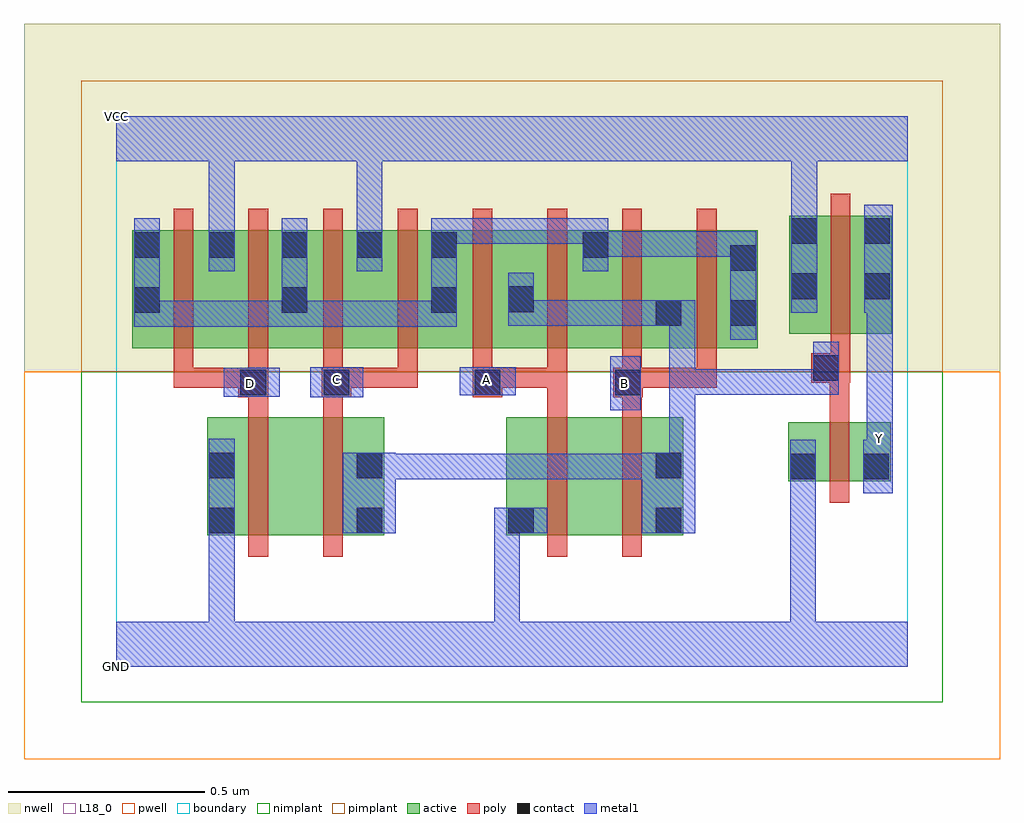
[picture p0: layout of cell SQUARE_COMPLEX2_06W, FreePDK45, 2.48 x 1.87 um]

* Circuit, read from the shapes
.subckt SQUARE_COMPLEX2_06W A B C D GND VCC Y
M1 n1 D GND VSUBS nfet w=0.3u l=0.05u
M2 n2 C n1 VSUBS nfet w=0.3u l=0.05u
M3 n3 A GND VSUBS nfet w=0.3u l=0.05u
M4 n2 B n3 VSUBS nfet w=0.3u l=0.05u
M5 Y n2 GND VSUBS nfet w=0.15u l=0.05u
M6 VCC D n4 n5 pfet w=0.3u l=0.05u m=2
M7 VCC C n4 n5 pfet w=0.3u l=0.05u m=2
M8 n2 A n4 n5 pfet w=0.3u l=0.05u m=2
M9 n2 B n4 n5 pfet w=0.3u l=0.05u m=2
M10 Y n2 VCC n5 pfet w=0.3u l=0.05u
.ends

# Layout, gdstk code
import gdstk
lib = gdstk.Library(unit=1e-6, precision=1e-09)
def R(c, l, rs):  # rectangles x0, y0, x1, y1
    for r in rs: c.add(gdstk.rectangle(r[:2], r[2:], *l))
def A(c, l, x, y, w, h, nx, ny, dx, dy):  # array of equal rectangles
    R(c, l, [(x+i*dx, y+j*dy, x+i*dx+w, y+j*dy+h) for i in range(nx) for j in range(ny)])
active = (1, 0)
pwell = (2, 0)
nwell = (3, 0)
nimplant = (4, 0)
pimplant = (5, 0)
poly = (9, 0)
contact = (10, 0)
metal1 = (11, 0)
L18_0 = (18, 0)
boundary = (235, 0)

square_complex2_06w = lib.new_cell('SQUARE_COMPLEX2_06W')
A(square_complex2_06w, active, 0.415, 0.81, 0.075, 0.3, 3, 1, 0.19, 0)
R(square_complex2_06w, active, [(0.23,0.335,0.305,0.635), (0.23,0.335,0.455,0.635), (0.455,0.335,0.68,0.635), (0.605,0.335,0.68,0.635), (0.99,0.335,1.065,0.635), (0.99,0.335,1.215,0.635), (1.215,0.335,1.44,0.635), (1.365,0.335,1.44,0.635), (1.707,0.472,1.782,0.622), (1.707,0.472,1.967,0.622), (1.892,0.472,1.967,0.622), (0.04,0.81,0.115,1.11), (0.04,0.81,0.305,1.11), (0.23,0.81,0.305,1.11), (0.23,0.81,0.49,1.11), (0.415,0.81,0.68,1.11), (0.605,0.81,0.87,1.11), (0.795,0.81,1.065,1.11), (0.99,0.81,1.255,1.11), (1.18,0.81,1.255,1.11), (1.18,0.81,1.44,1.11), (1.365,0.81,1.63,1.11), (1.555,0.81,1.63,1.11), (1.71,0.847,1.785,1.147), (1.71,0.847,1.97,1.147), (1.895,0.847,1.97,1.145), (1.365,0.862,1.44,1.07), (0.99,0.897,1.065,1.07)])
R(square_complex2_06w, pwell, [(-0.235,-0.235,2.245,0.75)])
R(square_complex2_06w, nwell, [(-0.235,0.75,2.245,1.635)])
R(square_complex2_06w, nimplant, [(-0.09,-0.09,2.1,0.75)])
R(square_complex2_06w, pimplant, [(-0.09,0.75,2.1,1.49)])
A(square_complex2_06w, poly, 0.145, 0.71, 0.05, 0.095, 8, 1, 0.19, 0)
A(square_complex2_06w, poly, 0.145, 0.755, 0.05, 0.41, 8, 1, 0.19, 0)
R(square_complex2_06w, poly, [(0.335,0.28,0.385,0.69), (0.525,0.28,0.575,0.69), (1.095,0.28,1.145,0.69), (1.285,0.28,1.335,0.69), (1.812,0.417,1.862,0.677), (1.812,0.627,1.862,0.772), (0.335,0.64,0.385,0.735), (0.525,0.64,0.575,0.735), (1.095,0.64,1.145,0.76), (1.285,0.64,1.335,0.735), (0.31,0.685,0.385,0.76), (0.522,0.685,0.597,0.76), (0.905,0.685,0.98,0.76), (1.262,0.685,1.337,0.76), (0.145,0.71,0.195,0.76), (0.145,0.71,0.195,0.76), (0.145,0.71,0.195,0.76), (0.145,0.71,0.36,0.76), (0.547,0.71,0.597,0.76), (0.547,0.71,0.597,0.76), (0.547,0.71,0.765,0.76), (0.715,0.71,0.765,0.76), (0.93,0.71,1.145,0.76), (1.095,0.71,1.145,0.76), (1.095,0.71,1.145,0.76), (1.095,0.71,1.145,0.76), (1.287,0.71,1.525,0.76), (1.475,0.71,1.525,0.76), (1.475,0.71,1.525,0.76), (1.475,0.71,1.525,0.76), (1.765,0.722,1.865,0.797), (1.815,0.747,1.865,0.842), (1.815,0.792,1.865,1.202)])
A(square_complex2_06w, contact, 0.42, 1.04, 0.065, 0.065, 3, 1, 0.19, 0)
R(square_complex2_06w, contact, [(0.235,0.34,0.3,0.405), (0.61,0.34,0.675,0.405), (0.995,0.34,1.06,0.405), (1.37,0.34,1.435,0.405), (1.712,0.477,1.777,0.542), (1.897,0.477,1.962,0.542), (0.235,0.48,0.3,0.545), (0.61,0.48,0.675,0.545), (1.37,0.48,1.435,0.545), (0.315,0.69,0.38,0.755), (0.527,0.69,0.592,0.755), (0.91,0.69,0.975,0.755), (1.267,0.69,1.332,0.755), (1.77,0.727,1.835,0.792), (1.37,0.867,1.435,0.932), (1.56,0.867,1.625,0.932), (0.045,0.9,0.11,0.965), (0.42,0.9,0.485,0.965), (0.8,0.9,0.865,0.965), (0.995,0.902,1.06,0.967), (1.715,0.935,1.78,1), (1.9,0.935,1.965,1), (1.56,1.007,1.625,1.072), (0.045,1.04,0.11,1.105), (0.235,1.04,0.3,1.105), (1.185,1.04,1.25,1.105), (1.715,1.075,1.78,1.14), (1.9,1.075,1.965,1.14)])
R(square_complex2_06w, metal1, [(0,0,2.01,0.115), (0.235,0.05,0.3,0.115), (0.235,0.05,0.3,0.115), (0.235,0.05,0.3,0.115), (0.235,0.05,0.3,0.115), (0.235,0.05,0.3,0.37), (0.96,0.05,1.025,0.405), (1.712,0.05,1.777,0.115), (1.712,0.05,1.777,0.115), (1.712,0.05,1.777,0.115), (1.712,0.05,1.777,0.115), (1.712,0.05,1.777,0.507), (0.235,0.305,0.3,0.58), (0.575,0.34,0.71,0.545), (0.96,0.34,1.025,0.405), (0.96,0.34,1.025,0.405), (0.96,0.34,1.025,0.405), (0.96,0.34,1.025,0.405), (0.96,0.34,1.095,0.405), (1.335,0.34,1.47,0.545), (1.712,0.442,1.777,0.507), (1.712,0.442,1.777,0.507), (1.712,0.442,1.777,0.577), (1.897,0.442,1.972,0.577), (0.645,0.477,0.71,0.542), (0.645,0.477,0.71,0.542), (0.645,0.477,0.865,0.542), (0.8,0.477,0.865,0.542), (0.8,0.477,0.865,0.542), (0.8,0.477,0.865,0.542), (0.8,0.477,1.112,0.542), (1.047,0.477,1.112,0.542), (1.047,0.477,1.112,0.542), (1.047,0.477,1.112,0.542), (1.047,0.477,1.262,0.542), (1.197,0.477,1.262,0.542), (1.197,0.477,1.262,0.542), (1.197,0.477,1.262,0.542), (1.197,0.477,1.4,0.542), (1.405,0.48,1.47,0.757), (1.907,0.512,1.972,0.577), (1.907,0.512,1.972,0.647), (1.907,0.582,1.972,0.965), (1.255,0.652,1.332,0.79), (0.492,0.685,0.627,0.762), (0.272,0.687,0.415,0.76), (0.872,0.69,1.015,0.762), (1.405,0.692,1.47,0.757), (1.405,0.692,1.47,0.932), (1.405,0.692,1.625,0.757), (1.56,0.692,1.625,0.757), (1.56,0.692,1.625,0.757), (1.56,0.692,1.625,0.757), (1.56,0.692,1.762,0.757), (1.697,0.692,1.762,0.757), (1.697,0.692,1.835,0.757), (1.77,0.692,1.835,0.827), (1.56,0.832,1.625,1.107), (0.045,0.865,0.11,0.93), (0.045,0.865,0.11,0.93), (0.045,0.865,0.11,1.14), (0.045,0.865,0.347,0.93), (0.282,0.865,0.347,0.93), (0.282,0.865,0.347,0.93), (0.282,0.865,0.347,0.93), (0.282,0.865,0.485,0.93), (0.42,0.865,0.485,0.93), (0.42,0.865,0.485,0.93), (0.42,0.865,0.485,1.14), (0.42,0.865,0.727,0.93), (0.662,0.865,0.727,0.93), (0.662,0.865,0.727,0.93), (0.662,0.865,0.727,0.93), (0.662,0.865,0.865,0.93), (0.8,0.865,0.865,1.14), (0.995,0.867,1.06,0.932), (0.995,0.867,1.06,0.932), (0.995,0.867,1.06,1.002), (0.995,0.867,1.25,0.932), (1.185,0.867,1.25,0.932), (1.185,0.867,1.4,0.932), (1.335,0.867,1.4,0.932), (1.335,0.867,1.4,0.932), (1.335,0.867,1.47,0.932), (1.715,0.9,1.78,1.175), (1.9,0.9,1.972,1.175), (0.235,1.005,0.3,1.14), (0.61,1.005,0.675,1.14), (1.185,1.005,1.25,1.14), (1.185,1.042,1.25,1.107), (1.185,1.042,1.25,1.107), (1.185,1.042,1.487,1.107), (1.422,1.042,1.487,1.107), (1.422,1.042,1.625,1.107), (1.56,1.042,1.625,1.107), (1.56,1.042,1.625,1.107), (0.235,1.075,0.3,1.35), (0.61,1.075,0.675,1.14), (0.61,1.075,0.675,1.14), (0.61,1.075,0.675,1.35), (0.8,1.075,0.865,1.14), (0.8,1.075,0.865,1.14), (0.8,1.075,0.865,1.14), (0.8,1.075,0.865,1.14), (0.8,1.075,1.112,1.14), (1.047,1.075,1.112,1.14), (1.047,1.075,1.112,1.14), (1.047,1.075,1.112,1.14), (1.047,1.075,1.25,1.14), (1.715,1.11,1.78,1.35), (0,1.285,2.01,1.4), (0.235,1.285,0.3,1.35), (0.235,1.285,0.3,1.35), (1.715,1.285,1.78,1.35), (1.715,1.285,1.78,1.35)])
R(square_complex2_06w, L18_0, [(0,0,2.01,0.115), (0.235,0.05,0.3,0.115), (0.235,0.05,0.3,0.115), (0.235,0.05,0.3,0.115), (0.235,0.05,0.3,0.115), (0.235,0.05,0.3,0.37), (0.96,0.05,1.025,0.405), (1.712,0.05,1.777,0.115), (1.712,0.05,1.777,0.115), (1.712,0.05,1.777,0.115), (1.712,0.05,1.777,0.115), (1.712,0.05,1.777,0.507), (0.235,0.305,0.3,0.58), (0.96,0.34,1.025,0.405), (0.96,0.34,1.025,0.405), (0.96,0.34,1.025,0.405), (0.96,0.34,1.025,0.405), (0.96,0.34,1.095,0.405), (1.712,0.442,1.777,0.507), (1.712,0.442,1.777,0.507), (1.712,0.442,1.777,0.577), (1.897,0.442,1.972,0.577), (1.907,0.512,1.972,0.577), (1.907,0.512,1.972,0.647), (1.907,0.547,1.972,0.612), (1.907,0.582,1.972,0.965), (1.255,0.652,1.332,0.79), (0.492,0.685,0.627,0.762), (0.272,0.687,0.415,0.76), (0.307,0.687,0.372,0.752), (1.257,0.687,1.322,0.752), (0.872,0.69,1.015,0.762), (0.527,0.697,0.592,0.762), (0.907,0.697,0.972,0.762), (1.715,0.9,1.78,1.175), (1.9,0.9,1.972,1.175), (0.235,1.005,0.3,1.14), (0.61,1.005,0.675,1.14), (0.235,1.075,0.3,1.35), (0.61,1.075,0.675,1.14), (0.61,1.075,0.675,1.14), (0.61,1.075,0.675,1.35), (1.715,1.11,1.78,1.35), (0,1.285,2.01,1.4), (0.235,1.285,0.3,1.35), (0.235,1.285,0.3,1.35), (1.715,1.285,1.78,1.35), (1.715,1.285,1.78,1.35)])
R(square_complex2_06w, boundary, [(0,0,2.01,1.4)])
square_complex2_06w.add(gdstk.Label('A', (0.94,0.73), layer=11, texttype=0))
square_complex2_06w.add(gdstk.Label('B', (1.29,0.72), layer=11, texttype=0))
square_complex2_06w.add(gdstk.Label('C', (0.56,0.73), layer=11, texttype=0))
square_complex2_06w.add(gdstk.Label('D', (0.34,0.72), layer=11, texttype=0))
square_complex2_06w.add(gdstk.Label('Y', (1.94,0.58), layer=11, texttype=0))
square_complex2_06w.add(gdstk.Label('VCC', (0,1.4), layer=11, texttype=0))
square_complex2_06w.add(gdstk.Label('GND', (0,0), layer=11, texttype=0))

lib.write_gds('SQUARE_COMPLEX2_06W.gds')
